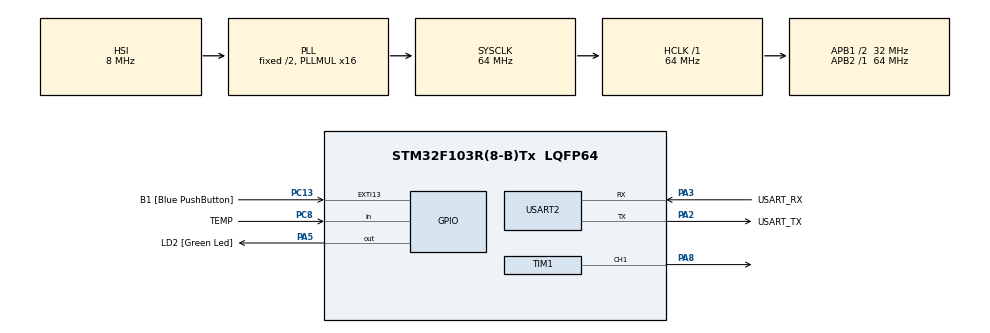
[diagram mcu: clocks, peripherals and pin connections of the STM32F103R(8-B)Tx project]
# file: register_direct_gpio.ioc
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Mcu.Family=STM32F1
Mcu.Name=STM32F103R(8-B)Tx
Mcu.Package=LQFP64
NVIC.EXTI15_10_IRQn=true\:0\:0\:false\:false\:true\:true\:true\:true
NVIC.PriorityGroup=NVIC_PRIORITYGROUP_4
PA13.GPIO_Label=TMS
PA13.Mode=Serial_Wire
PA13.Signal=SYS_JTMS-SWDIO
PA14.GPIO_Label=TCK
PA14.Mode=Serial_Wire
PA14.Signal=SYS_JTCK-SWCLK
PA2.GPIO_Label=USART_TX
PA2.GPIO_Mode=GPIO_MODE_AF_PP
PA2.GPIO_PuPd=GPIO_NOPULL
PA2.GPIO_Speed=GPIO_SPEED_FREQ_LOW
PA2.Mode=Asynchronous
PA2.Signal=USART2_TX
PA3.GPIO_Label=USART_RX
PA3.GPIO_Mode=GPIO_MODE_AF_PP
PA3.GPIO_PuPd=GPIO_NOPULL
PA3.GPIO_Speed=GPIO_SPEED_FREQ_LOW
PA3.Mode=Asynchronous
PA3.Signal=USART2_RX
PA5.GPIO_Label=LD2 [Green Led]
PA5.GPIO_ModeDefaultOutputPP=GPIO_MODE_OUTPUT_PP
PA5.GPIO_PuPd=GPIO_NOPULL
PA5.GPIO_Speed=GPIO_SPEED_FREQ_LOW
PA5.Signal=GPIO_Output
PA8.Signal=S_TIM1_CH1
PB3.GPIO_Label=SWO
PB3.Signal=SYS_JTDO-TRACESWO
PC13-TAMPER-RTC.GPIO_Label=B1 [Blue PushButton]
PC13-TAMPER-RTC.GPIO_PuPd=GPIO_NOPULL
PC13-TAMPER-RTC.Signal=GPXTI13
PC14-OSC32_IN.Signal=RCC_OSC32_IN
PC15-OSC32_OUT.Signal=RCC_OSC32_OUT
PC8.GPIO_Label=TEMP
PC8.Signal=GPIO_Input
PD0-OSC_IN.Signal=RCC_OSC_IN
PD1-OSC_OUT.Signal=RCC_OSC_OUT
ProjectManager.HeapSize=0x200
ProjectManager.StackSize=0x400
ProjectManager.TargetToolchain=STM32CubeIDE
RCC.AHBFreq_Value=64000000
RCC.APB1CLKDivider=RCC_HCLK_DIV2
RCC.APB1Freq_Value=32000000
RCC.APB1TimFreq_Value=64000000
RCC.APB2Freq_Value=64000000
RCC.APB2TimFreq_Value=64000000
RCC.HCLKFreq_Value=64000000
RCC.PLLMUL=RCC_PLL_MUL16
RCC.RTCClockSelection=RCC_RTCCLKSOURCE_LSE
RCC.SYSCLKFreq_VALUE=64000000
RCC.SYSCLKSource=RCC_SYSCLKSOURCE_PLLCLK
RCC.USBFreq_Value=64000000
SH.S_TIM1_CH1.0=TIM1_CH1,PWM Generation1 CH1
TIM1.Channel-PWM\ Generation1\ CH1=TIM_CHANNEL_1
TIM1.Period=1000-1
TIM1.Prescaler=1280-1
TIM1.Pulse-PWM\ Generation1\ CH1=1279
USART2.VirtualMode=VM_ASYNC
VP_TIM1_VS_ClockSourceINT.Mode=Internal
board=NUCLEO-F103RB

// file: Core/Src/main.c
/* USER CODE BEGIN Header */
/**
  ******************************************************************************
  * @file           : main.c
  * @brief          : Main program body
  ******************************************************************************
  * @attention
  *
  * Copyright (c) 2025 STMicroelectronics.
  * All rights reserved.
  *
  * This software is licensed under terms that can be found in the LICENSE file
  * in the root directory of this software component.
  * If no LICENSE file comes with this software, it is provided AS-IS.
  *
  ******************************************************************************
  */
/* USER CODE END Header */
#include "main.h"

/* USER CODE BEGIN Includes */
#include "rcc.h"
#include "stm32f103xb.h"
#include <stdio.h>
/* USER CODE END Includes */

/* USER CODE BEGIN PD */
// 음표 주파수 정의 (Hz)
#define NOTE_rp	 0
#define NOTE_A3  220
#define NOTE_C   261
#define NOTE_C4  262
#define NOTE_CS4 277
#define NOTE_D   294
#define NOTE_DS4 311
#define NOTE_E   330
#define NOTE_F   349
#define NOTE_FS4 370
#define NOTE_G   392
#define NOTE_GS  415
#define NOTE_A   440
#define NOTE_AS  466
#define NOTE_B   494
#define NOTE_C5  523
#define NOTE_CS5 554
#define NOTE_D5  587
#define NOTE_DS5 622
#define NOTE_E5  659
#define NOTE_F5  698
#define NOTE_FS5 740
#define NOTE_G5  784
#define NOTE_GS5 831
#define NOTE_A5  880
#define NOTE_AS5 932
#define NOTE_B5  988
#define NOTE_C6  1047
#define NOTE_CS6 1109
#define NOTE_D6  1175
#define NOTE_DS6 1245
#define NOTE_E6  1319
#define NOTE_F6  1397
#define NOTE_FS6 1480
#define NOTE_G6  1568
#define NOTE_GS6 1661
#define NOTE_A6  1760
#define NOTE_AS6 1865
#define NOTE_B6  1976
#define NOTE_C7  2093
#define NOTE_CS7 2217
#define NOTE_D7  2349
#define NOTE_DS7 2489
#define NOTE_E7  2637
#define NOTE_F7  2794
#define NOTE_FS7 2960
#define NOTE_G7  3136
#define NOTE_GS7 3322
#define NOTE_A7  3520
#define NOTE_AS7 3729
#define NOTE_B7  3951

#define REST 0

// 음표 길이 정의 (밀리초)
#define WHOLE     1400      // 원래 2000
#define HALF      700       // 원래 1000
#define QUARTER   350       // 원래 500
#define EIGHTH    175       // 원래 250
#define SIXTEENTH 90        // 원래 125
/* USER CODE END PD */

TIM_HandleTypeDef htim1;

UART_HandleTypeDef huart2;

/* USER CODE BEGIN PV */
uint16_t key;
int pos_pan = 75;

typedef struct {
    uint16_t frequency;
    uint16_t duration;
} Note;

//const Note mario_theme[] = {
//    // 첫 번째 구간
//    {NOTE_E7, EIGHTH}, {NOTE_E7, EIGHTH}, {REST, EIGHTH}, {NOTE_E7, EIGHTH},
//    {REST, EIGHTH}, {NOTE_C7, EIGHTH}, {NOTE_E7, EIGHTH}, {REST, EIGHTH},
//    {NOTE_G7, QUARTER}, {REST, QUARTER}, {NOTE_G6, QUARTER}, {REST, QUARTER},
//
//    // 두 번째 구간
//    {NOTE_C7, QUARTER}, {REST, EIGHTH}, {NOTE_G6, EIGHTH}, {REST, EIGHTH},
//    {NOTE_E6, QUARTER}, {REST, EIGHTH}, {NOTE_A6, EIGHTH}, {REST, EIGHTH},
//    {NOTE_B6, EIGHTH}, {REST, EIGHTH}, {NOTE_AS6, EIGHTH}, {NOTE_A6, QUARTER},
//
//    // 세 번째 구간
//    {NOTE_G6, EIGHTH}, {NOTE_E7, EIGHTH}, {NOTE_G7, EIGHTH}, {NOTE_A7, QUARTER},
//    {NOTE_F7, EIGHTH}, {NOTE_G7, EIGHTH}, {REST, EIGHTH}, {NOTE_E7, EIGHTH},
//    {REST, EIGHTH}, {NOTE_C7, EIGHTH}, {NOTE_D7, EIGHTH}, {NOTE_B6, QUARTER},
//
//    // 반복 구간
//    {NOTE_C7, QUARTER}, {REST, EIGHTH}, {NOTE_G6, EIGHTH}, {REST, EIGHTH},
//    {NOTE_E6, QUARTER}, {REST, EIGHTH}, {NOTE_A6, EIGHTH}, {REST, EIGHTH},
//    {NOTE_B6, EIGHTH}, {REST, EIGHTH}, {NOTE_AS6, EIGHTH}, {NOTE_A6, QUARTER},
//
//    {NOTE_G6, EIGHTH}, {NOTE_E7, EIGHTH}, {NOTE_G7, EIGHTH}, {NOTE_A7, QUARTER},
//    {NOTE_F7, EIGHTH}, {NOTE_G7, EIGHTH}, {REST, EIGHTH}, {NOTE_E7, EIGHTH},
//    {REST, EIGHTH}, {NOTE_C7, EIGHTH}, {NOTE_D7, EIGHTH}, {NOTE_B6, QUARTER},
//
//    // 마무리
//    {REST, QUARTER}, {NOTE_G7, EIGHTH}, {NOTE_FS7, EIGHTH}, {NOTE_F7, EIGHTH},
//    {NOTE_DS7, QUARTER}, {NOTE_E7, EIGHTH}, {REST, EIGHTH}, {NOTE_GS6, EIGHTH},
//    {NOTE_A6, EIGHTH}, {NOTE_C7, EIGHTH}, {REST, EIGHTH}, {NOTE_A6, EIGHTH},
//    {NOTE_C7, EIGHTH}, {NOTE_D7, EIGHTH}
//};

const Note school[] = {
		{NOTE_A3, EIGHTH}, {NOTE_C, EIGHTH}, {NOTE_D, EIGHTH}, {NOTE_D, EIGHTH},
		{NOTE_rp, EIGHTH}, {NOTE_D, EIGHTH}, {NOTE_E, EIGHTH}, {NOTE_F, EIGHTH},
		{NOTE_F, EIGHTH}, {NOTE_rp, EIGHTH}, {NOTE_F, EIGHTH}, {NOTE_G, EIGHTH},
		{NOTE_E, EIGHTH}, {NOTE_E, EIGHTH}, {NOTE_rp, EIGHTH}, {NOTE_rp, EIGHTH},
		{NOTE_C, EIGHTH}, {NOTE_D, EIGHTH}, {NOTE_rp, EIGHTH}, {NOTE_rp, EIGHTH},
		{NOTE_A3, EIGHTH}, {NOTE_C, EIGHTH}, {NOTE_D, EIGHTH}, {NOTE_D, EIGHTH},
		{NOTE_rp, EIGHTH}, {NOTE_D, EIGHTH}, {NOTE_E, EIGHTH}, {NOTE_F, EIGHTH},
		{NOTE_F, EIGHTH}, {NOTE_rp, EIGHTH}, {NOTE_F, EIGHTH}, {NOTE_G, EIGHTH},
		{NOTE_E, EIGHTH}, {NOTE_E, EIGHTH}, {NOTE_rp, EIGHTH}, {NOTE_D, EIGHTH},
		{NOTE_C, EIGHTH}, {NOTE_D, EIGHTH}, {NOTE_rp, EIGHTH}, {NOTE_rp, EIGHTH},
		{NOTE_A3, EIGHTH}, {NOTE_C, EIGHTH}, {NOTE_D, EIGHTH}, {NOTE_D, EIGHTH},
		{NOTE_rp, EIGHTH}, {NOTE_D, EIGHTH}, {NOTE_F, EIGHTH}, {NOTE_G, EIGHTH},
		{NOTE_G, EIGHTH}, {NOTE_rp, EIGHTH}, {NOTE_G, EIGHTH}, {NOTE_A, EIGHTH},
		{NOTE_AS, EIGHTH}, {NOTE_A, EIGHTH}, {NOTE_rp, EIGHTH}, {NOTE_GS, EIGHTH},
		{NOTE_G, EIGHTH}, {NOTE_A, EIGHTH}, {NOTE_rp, EIGHTH}, {NOTE_D, EIGHTH},
		{NOTE_E, EIGHTH}, {NOTE_F, EIGHTH}, {NOTE_F, EIGHTH}, {NOTE_rp, EIGHTH},
		{NOTE_G, EIGHTH}, {NOTE_A, EIGHTH}, {NOTE_D, EIGHTH}, {NOTE_rp, EIGHTH},
		{NOTE_D, EIGHTH}, {NOTE_F, EIGHTH}, {NOTE_E, EIGHTH}, {NOTE_E, EIGHTH},
		{NOTE_rp, EIGHTH}, {NOTE_F, EIGHTH}, {NOTE_D, EIGHTH}, {NOTE_E, EIGHTH},
		{NOTE_rp, EIGHTH}, {NOTE_rp, EIGHTH}
};

//const int mario_theme_length = sizeof(mario_theme) / sizeof(mario_theme[0]);
const int school_length = sizeof(school) / sizeof(school[0]);
/* USER CODE END PV */

void SystemClock_Config(void);
static void MX_GPIO_Init(void);
static void MX_USART2_UART_Init(void);
static void MX_TIM1_Init(void);
/* USER CODE BEGIN PFP */
void play_tone(uint16_t frequency, uint16_t duration);
void play_mario_theme(void);
void play_school(void);
/* USER CODE END PFP */

/* USER CODE BEGIN 0 */
/**
 * @brief 특정 주파수와 지속시간으로 톤 재생
 * @param frequency: 재생할 주파수 (Hz), 0이면 무음
 * @param duration: 재생 시간 (밀리초)
 */
void play_tone(uint16_t frequency, uint16_t duration) {
    if (frequency == 0) {
        // 무음 처리
        HAL_TIM_PWM_Stop(&htim1, TIM_CHANNEL_1);
    } else {
        // 주파수에 따른 ARR 값 계산
        // APB2 클록이 64MHz이고, Prescaler가 64-1이면 1MHz
        // ARR = 1000000 / frequency - 1
        uint32_t arr_value = 1000000 / frequency - 1;

        // 타이머 설정 업데이트
        __HAL_TIM_SET_AUTORELOAD(&htim1, arr_value);
        __HAL_TIM_SET_COMPARE(&htim1, TIM_CHANNEL_1, arr_value / 2); // 50% duty cycle

        // PWM 시작
        HAL_TIM_PWM_Start(&htim1, TIM_CHANNEL_1);
    }

    // 지정된 시간만큼 대기
    HAL_Delay(duration);

    // 톤 정지
    HAL_TIM_PWM_Stop(&htim1, TIM_CHANNEL_1);

    // 음표 사이의 짧은 간격 (더 빠른 연주를 위해 단축)
    HAL_Delay(0);
}

/**
 * @brief 마리오 테마 음악 재생
 */
//void play_mario_theme(void) {
//    for (int i = 0; i < mario_theme_length; i++) {
//        play_tone(mario_theme[i].frequency, mario_theme[i].duration);
//    }
//}

void play_school(void)
{
    for (int i = 0; i < school_length; i++) {
        play_tone(school[i].frequency, school[i].duration);
    }
}

void move_motor(uint8_t angle)
{
	uint32_t ccr_val = 50 +((angle * (100 - 50)) / 100);
	__HAL_TIM_SET_COMPARE(&htim1, TIM_CHANNEL_1, ccr_val);

}

/* USER CODE END 0 */

int main(void)
{

  /* MCU Configuration--------------------------------------------------------*/

  /* Reset of all peripherals, Initializes the Flash interface and the Systick. */
  HAL_Init();

  /* Configure the system clock */
  SystemClock_Config();

  /* Initialize all configured peripherals */
  MX_GPIO_Init();
  MX_USART2_UART_Init();
  MX_TIM1_Init();
  /* USER CODE BEGIN 2 */

//  RCC -> APB2ENR = (1 << IOPAEN);
//  GPIOA -> CRL = (1 << MODE5);

  /* USER CODE END 2 */

  /* Infinite loop */
  /* USER CODE BEGIN WHILE */
  while (1)
  {
	  HAL_TIM_PWM_Start(&htim1, TIM_CHANNEL_1);

		// 마리오 테마 음악 재생
//		play_mario_theme();
//	  	play_school();

		// 음악 종료 후 5초 대기

    /* USER CODE END WHILE */

    /* USER CODE BEGIN 3 */
//	  HAL_GPIO_WritePin(LD2_GPIO_Port, LD2_Pin, 1);
//	  HAL_Delay(1000);
//	  HAL_GPIO_WritePin(LD2_GPIO_Port, LD2_Pin, 0);
//	  HAL_Delay(1000);
//
//	  key = HAL_GPIO_ReadPin(B1_GPIO_Port, B1_Pin);
//	  HAL_Delay(1000);

//	  GPIOA -> ODR = (1 << 5);
//	  HAL_Delay(1000);
//	  GPIOA -> ODR = 0;
//	  HAL_Delay(1000);
	  	__HAL_TIM_SET_COMPARE(&htim1, TIM_CHANNEL_1, pos_pan);
	  	HAL_Delay(1000);
	  	move_motor(15);
		HAL_Delay(1000);

		__HAL_TIM_SET_COMPARE(&htim1, TIM_CHANNEL_1, pos_pan);
		HAL_Delay(1000);
	  	move_motor(90);
		HAL_Delay(1000);

		__HAL_TIM_SET_COMPARE(&htim1, TIM_CHANNEL_1, pos_pan);
		HAL_Delay(1000);
	  	move_motor(180);
		HAL_Delay(1000);

  }
  /* USER CODE END 3 */
}

void SystemClock_Config(void)
{
  RCC_OscInitTypeDef RCC_OscInitStruct = {0};
  RCC_ClkInitTypeDef RCC_ClkInitStruct = {0};

  /** Initializes the RCC Oscillators according to the specified parameters
  * in the RCC_OscInitTypeDef structure.
  */
  RCC_OscInitStruct.OscillatorType = RCC_OSCILLATORTYPE_HSI;
  RCC_OscInitStruct.HSIState = RCC_HSI_ON;
  RCC_OscInitStruct.HSICalibrationValue = RCC_HSICALIBRATION_DEFAULT;
  RCC_OscInitStruct.PLL.PLLState = RCC_PLL_ON;
  RCC_OscInitStruct.PLL.PLLSource = RCC_PLLSOURCE_HSI_DIV2;
  RCC_OscInitStruct.PLL.PLLMUL = RCC_PLL_MUL16;
  if (HAL_RCC_OscConfig(&RCC_OscInitStruct) != HAL_OK)
  {
    Error_Handler();
  }

  /** Initializes the CPU, AHB and APB buses clocks
  */
  RCC_ClkInitStruct.ClockType = RCC_CLOCKTYPE_HCLK|RCC_CLOCKTYPE_SYSCLK
                              |RCC_CLOCKTYPE_PCLK1|RCC_CLOCKTYPE_PCLK2;
  RCC_ClkInitStruct.SYSCLKSource = RCC_SYSCLKSOURCE_PLLCLK;
  RCC_ClkInitStruct.AHBCLKDivider = RCC_SYSCLK_DIV1;
  RCC_ClkInitStruct.APB1CLKDivider = RCC_HCLK_DIV2;
  RCC_ClkInitStruct.APB2CLKDivider = RCC_HCLK_DIV1;

  if (HAL_RCC_ClockConfig(&RCC_ClkInitStruct, FLASH_LATENCY_2) != HAL_OK)
  {
    Error_Handler();
  }
}

static void MX_TIM1_Init(void)
{

  TIM_ClockConfigTypeDef sClockSourceConfig = {0};
  TIM_MasterConfigTypeDef sMasterConfig = {0};
  TIM_OC_InitTypeDef sConfigOC = {0};
  TIM_BreakDeadTimeConfigTypeDef sBreakDeadTimeConfig = {0};

  htim1.Instance = TIM1;
  htim1.Init.Prescaler = 1280-1;
  htim1.Init.CounterMode = TIM_COUNTERMODE_UP;
  htim1.Init.Period = 1000-1;
  htim1.Init.ClockDivision = TIM_CLOCKDIVISION_DIV1;
  htim1.Init.RepetitionCounter = 0;
  htim1.Init.AutoReloadPreload = TIM_AUTORELOAD_PRELOAD_DISABLE;
  if (HAL_TIM_Base_Init(&htim1) != HAL_OK)
  {
    Error_Handler();
  }
  sClockSourceConfig.ClockSource = TIM_CLOCKSOURCE_INTERNAL;
  if (HAL_TIM_ConfigClockSource(&htim1, &sClockSourceConfig) != HAL_OK)
  {
    Error_Handler();
  }
  if (HAL_TIM_PWM_Init(&htim1) != HAL_OK)
  {
    Error_Handler();
  }
  sMasterConfig.MasterOutputTrigger = TIM_TRGO_RESET;
  sMasterConfig.MasterSlaveMode = TIM_MASTERSLAVEMODE_DISABLE;
  if (HAL_TIMEx_MasterConfigSynchronization(&htim1, &sMasterConfig) != HAL_OK)
  {
    Error_Handler();
  }
  sConfigOC.OCMode = TIM_OCMODE_PWM1;
  sConfigOC.Pulse = 1279;
  sConfigOC.OCPolarity = TIM_OCPOLARITY_HIGH;
  sConfigOC.OCNPolarity = TIM_OCNPOLARITY_HIGH;
  sConfigOC.OCFastMode = TIM_OCFAST_DISABLE;
  sConfigOC.OCIdleState = TIM_OCIDLESTATE_RESET;
  sConfigOC.OCNIdleState = TIM_OCNIDLESTATE_RESET;
  if (HAL_TIM_PWM_ConfigChannel(&htim1, &sConfigOC, TIM_CHANNEL_1) != HAL_OK)
  {
    Error_Handler();
  }
  sBreakDeadTimeConfig.OffStateRunMode = TIM_OSSR_DISABLE;
  sBreakDeadTimeConfig.OffStateIDLEMode = TIM_OSSI_DISABLE;
  sBreakDeadTimeConfig.LockLevel = TIM_LOCKLEVEL_OFF;
  sBreakDeadTimeConfig.DeadTime = 0;
  sBreakDeadTimeConfig.BreakState = TIM_BREAK_DISABLE;
  sBreakDeadTimeConfig.BreakPolarity = TIM_BREAKPOLARITY_HIGH;
  sBreakDeadTimeConfig.AutomaticOutput = TIM_AUTOMATICOUTPUT_DISABLE;
  if (HAL_TIMEx_ConfigBreakDeadTime(&htim1, &sBreakDeadTimeConfig) != HAL_OK)
  {
    Error_Handler();
  }
  HAL_TIM_MspPostInit(&htim1);

}

static void MX_USART2_UART_Init(void)
{

  huart2.Instance = USART2;
  huart2.Init.BaudRate = 115200;
  huart2.Init.WordLength = UART_WORDLENGTH_8B;
  huart2.Init.StopBits = UART_STOPBITS_1;
  huart2.Init.Parity = UART_PARITY_NONE;
  huart2.Init.Mode = UART_MODE_TX_RX;
  huart2.Init.HwFlowCtl = UART_HWCONTROL_NONE;
  huart2.Init.OverSampling = UART_OVERSAMPLING_16;
  if (HAL_UART_Init(&huart2) != HAL_OK)
  {
    Error_Handler();
  }

}

static void MX_GPIO_Init(void)
{
  GPIO_InitTypeDef GPIO_InitStruct = {0};

  /* GPIO Ports Clock Enable */
  __HAL_RCC_GPIOC_CLK_ENABLE();
  __HAL_RCC_GPIOD_CLK_ENABLE();
  __HAL_RCC_GPIOA_CLK_ENABLE();
  __HAL_RCC_GPIOB_CLK_ENABLE();

  /*Configure GPIO pin Output Level */
  HAL_GPIO_WritePin(LD2_GPIO_Port, LD2_Pin, GPIO_PIN_RESET);

  /*Configure GPIO pin : B1_Pin */
  GPIO_InitStruct.Pin = B1_Pin;
  GPIO_InitStruct.Mode = GPIO_MODE_IT_RISING;
  GPIO_InitStruct.Pull = GPIO_NOPULL;
  HAL_GPIO_Init(B1_GPIO_Port, &GPIO_InitStruct);

  /*Configure GPIO pin : LD2_Pin */
  GPIO_InitStruct.Pin = LD2_Pin;
  GPIO_InitStruct.Mode = GPIO_MODE_OUTPUT_PP;
  GPIO_InitStruct.Pull = GPIO_NOPULL;
  GPIO_InitStruct.Speed = GPIO_SPEED_FREQ_LOW;
  HAL_GPIO_Init(LD2_GPIO_Port, &GPIO_InitStruct);

  /*Configure GPIO pin : TEMP_Pin */
  GPIO_InitStruct.Pin = TEMP_Pin;
  GPIO_InitStruct.Mode = GPIO_MODE_INPUT;
  GPIO_InitStruct.Pull = GPIO_NOPULL;
  HAL_GPIO_Init(TEMP_GPIO_Port, &GPIO_InitStruct);

  /* EXTI interrupt init*/
  HAL_NVIC_SetPriority(EXTI15_10_IRQn, 0, 0);
  HAL_NVIC_EnableIRQ(EXTI15_10_IRQn);

}

void Error_Handler(void)
{
  __disable_irq();
  while (1)
  {
  }
}
